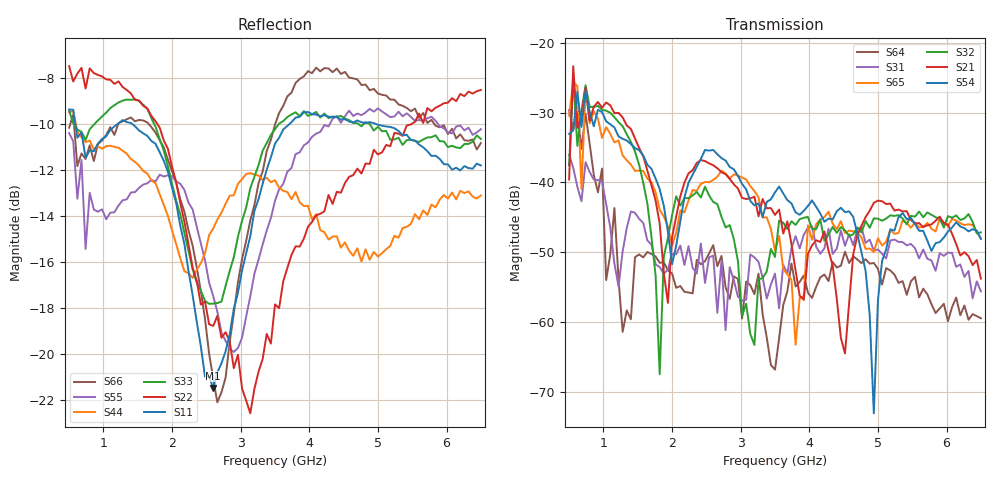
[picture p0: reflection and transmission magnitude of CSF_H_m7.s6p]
!Keysight Technologies,M9804A,MY58100912,A.14.10.03
!Date: Thursday, April 27, 2023 10:28:33
!Correction: S11(C  6-Port  )
!S12(C  6-Port  )
!S13(C  6-Port  )
!S14(C  6-Port  )
!S15(C  6-Port  )
!S16(C  6-Port  )
!S21(C  6-Port  )
!S22(C  6-Port  )
!S23(C  6-Port  )
!S24(C  6-Port  )
!S25(C  6-Port  )
!S26(C  6-Port  )
!S31(C  6-Port  )
!S32(C  6-Port  )
!S33(C  6-Port  )
!S34(C  6-Port  )
!S35(C  6-Port  )
!S36(C  6-Port  )
!S41(C  6-Port  )
!S42(C  6-Port  )
!S43(C  6-Port  )
!S44(C  6-Port  )
!S45(C  6-Port  )
!S46(C  6-Port  )
!S51(C  6-Port  )
!S52(C  6-Port  )
!S53(C  6-Port  )
!S54(C  6-Port  )
!S55(C  6-Port  )
!S56(C  6-Port  )
!S61(C  6-Port  )
!S62(C  6-Port  )
!S63(C  6-Port  )
!S64(C  6-Port  )
!S65(C  6-Port  )
!S66(C  6-Port  )
!S6P File: Measurement: :
# Hz S  RI  R 50
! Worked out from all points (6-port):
!   101 points, 500 MHz to 6.5 GHz, reference 50 ohm
!   strongest paths, dB at 500 MHz, 2 GHz, 3.5 GHz, 5 GHz, 6.5 GHz:
!     S54: -33.0, -51.7, -41.4, -56.9, -48.1
!     S21: -39.6, -47.9, -44.7, -42.6, -53.8
!     S32: -37.5, -44.7, -50.7, -45.2, -47.2
!     S65: -30.4, -49.1, -49.8, -48.0, -48.0
!     S31: -36.0, -50.2, -53.1, -49.6, -55.6
!     S64: -29.6, -53.1, -66.8, -52.4, -59.5
!   lowest |S11| = -21.5 dB at 2.6 GHz (marker M1), VSWR 1.18, Z = 42.5 + j2.12 ohm
!   |S11| at or under -10 dB: 590.7 MHz to 1.206 GHz (614.9 MHz wide, 68.5 % of centre); 1.421 GHz to 3.71 GHz (2.288 GHz wide, 89.2 % of centre); 4.976 GHz to end of sweep
